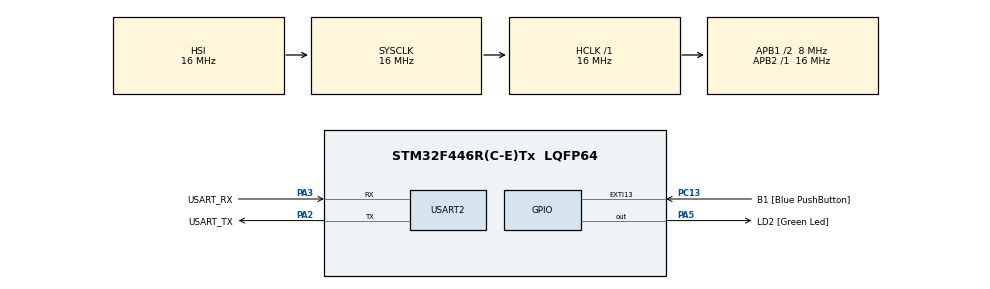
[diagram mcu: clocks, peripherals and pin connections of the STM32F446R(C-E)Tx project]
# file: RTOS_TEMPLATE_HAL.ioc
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Mcu.Family=STM32F4
Mcu.Name=STM32F446R(C-E)Tx
Mcu.Package=LQFP64
NVIC.PriorityGroup=NVIC_PRIORITYGROUP_0
PA13.GPIO_Label=TMS
PA13.Mode=Serial_Wire
PA13.Signal=SYS_JTMS-SWDIO
PA14.GPIO_Label=TCK
PA14.Mode=Serial_Wire
PA14.Signal=SYS_JTCK-SWCLK
PA2.GPIO_Label=USART_TX
PA2.Mode=Asynchronous
PA2.Signal=USART2_TX
PA3.GPIO_Label=USART_RX
PA3.Mode=Asynchronous
PA3.Signal=USART2_RX
PA5.GPIO_Label=LD2 [Green Led]
PA5.Signal=GPIO_Output
PB3.GPIO_Label=SWO
PB3.Signal=SYS_JTDO-SWO
PC13.GPIO_Label=B1 [Blue PushButton]
PC13.GPIO_ModeDefaultEXTI=GPIO_MODE_IT_FALLING
PC13.Signal=GPXTI13
PC14-OSC32_IN.Mode=LSE-External-Oscillator
PC14-OSC32_IN.Signal=RCC_OSC32_IN
PC15-OSC32_OUT.Mode=LSE-External-Oscillator
PC15-OSC32_OUT.Signal=RCC_OSC32_OUT
PH0-OSC_IN.Mode=HSE-External-Oscillator
PH0-OSC_IN.Signal=RCC_OSC_IN
PH1-OSC_OUT.Mode=HSE-External-Oscillator
PH1-OSC_OUT.Signal=RCC_OSC_OUT
ProjectManager.HeapSize=0x200
ProjectManager.StackSize=0x400
ProjectManager.TargetToolchain=STM32CubeIDE
RCC.48MHZClocksFreq_Value=84000000
RCC.AHBFreq_Value=16000000
RCC.APB1CLKDivider=RCC_HCLK_DIV2
RCC.APB1Freq_Value=8000000
RCC.APB1TimFreq_Value=16000000
RCC.APB2Freq_Value=16000000
RCC.APB2TimFreq_Value=16000000
RCC.CortexFreq_Value=16000000
RCC.FLatency-AdvancedSettings=FLASH_LATENCY_0
RCC.HCLKFreq_Value=16000000
RCC.HSE_VALUE=8000000
RCC.HSI_VALUE=16000000
RCC.PLLN=336
RCC.PLLP=RCC_PLLP_DIV4
RCC.SYSCLKFreq_VALUE=16000000
RCC.USBFreq_Value=168000000
RCC.VCOOutputFreq_Value=336000000
USART2.VirtualMode=VM_ASYNC
board=NUCLEO-F446RE

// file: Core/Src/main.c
/* USER CODE BEGIN Header */
/**
  ******************************************************************************
  * @file           : main.c
  * @brief          : Main program body
  ******************************************************************************
  * @attention
  *
  * <h2><center>&copy; Copyright (c) 2021 STMicroelectronics.
  * All rights reserved.</center></h2>
  *
  * This software component is licensed by ST under BSD 3-Clause license,
  * the "License"; You may not use this file except in compliance with the
  * License. You may obtain a copy of the License at:
  *                        opensource.org/licenses/BSD-3-Clause
  *
  ******************************************************************************
  */
/* USER CODE END Header */
#include "main.h"

/* USER CODE BEGIN Includes */
#include<stdarg.h>
#include "queue.h"
#include "semphr.h"

/* USER CODE END Includes */

UART_HandleTypeDef huart2;

void SystemClock_Config(void);
static void MX_GPIO_Init(void);
static void MX_USART2_UART_Init(void);

void SystemClock_Config(void);
static void svManagerTask(void *parameter);
static void svEmployeeTask(void *parameter);
void printmsg(const char *format,...);

void printmsg(const char *format,...)
{
       char str[80];

        /*extract the arg list using va apis */
       va_list args;
       va_start(args, format);
       vsprintf(str, format, args);

       strcat(str, "\n\r");
       HAL_UART_Transmit(&huart2, (uint8_t *)str, strlen(str), HAL_MAX_DELAY);
       va_end(args);
}

/* USER CODE BEGIN 0 */

BaseType_t xStatus;
//Create a global semaphore object which will be used by both the manager and employee task synchronously
xSemaphoreHandle xSemaObj = NULL;

//Create a queue which will be used to transfer data between the two tasks
xQueueHandle xQueueObj = NULL;

/* USER CODE END 0 *///0x200132ac   0x1fff

TaskHandle_t task1_handle = NULL,
		 	 task2_handle = NULL;

int main(void)
{

  /* MCU Configuration--------------------------------------------------------*/

  DWT->CTRL |= (0x1 << 0);
  /* Reset of all peripherals, Initializes the Flash interface and the Systick. */
  HAL_Init();

  /* Configure the system clock */
  SystemClock_Config();

  /* Initialize all configured peripherals */
  MX_GPIO_Init();
  MX_USART2_UART_Init();
  /* USER CODE BEGIN 2 */

	//printf("The application has started\n\r");

  //Start Recording
  SEGGER_SYSVIEW_Conf();
  SEGGER_SYSVIEW_Start();

  vSemaphoreCreateBinary(xSemaObj);

  xQueueObj = xQueueCreate(1, sizeof(unsigned int));

  if((xSemaObj != NULL) && (xQueueObj != NULL)){
	xStatus = xTaskCreate(svEmployeeTask, "Employee", configMINIMAL_STACK_SIZE, NULL, 1, &task1_handle);
	configASSERT(xStatus == pdPASS);

	xStatus = xTaskCreate(svManagerTask, "Manager", configMINIMAL_STACK_SIZE, NULL, 2, &task2_handle);
	configASSERT(xStatus == pdPASS);

	//start FreeRTOS scheduler
	vTaskStartScheduler();
  }

  printmsg("ERR : Couldn't create kernel objects");

	//if the control comes here, the cpu comes here due to unsufficient task in the memory

  /* USER CODE END 2 */

  /* Infinite loop */
  while (1)
  {

  }
}

void SystemClock_Config(void)
{
  RCC_OscInitTypeDef RCC_OscInitStruct = {0};
  RCC_ClkInitTypeDef RCC_ClkInitStruct = {0};

  /** Configure the main internal regulator output voltage
  */
  __HAL_RCC_PWR_CLK_ENABLE();
  __HAL_PWR_VOLTAGESCALING_CONFIG(PWR_REGULATOR_VOLTAGE_SCALE3);
  /** Initializes the RCC Oscillators according to the specified parameters
  * in the RCC_OscInitTypeDef structure.
  */
  RCC_OscInitStruct.OscillatorType = RCC_OSCILLATORTYPE_HSI;
  RCC_OscInitStruct.HSIState = RCC_HSI_ON;
  RCC_OscInitStruct.HSICalibrationValue = RCC_HSICALIBRATION_DEFAULT;
  RCC_OscInitStruct.PLL.PLLState = RCC_PLL_NONE;
  if (HAL_RCC_OscConfig(&RCC_OscInitStruct) != HAL_OK)
  {
    Error_Handler();
  }
  /** Initializes the CPU, AHB and APB buses clocks
  */
  RCC_ClkInitStruct.ClockType = RCC_CLOCKTYPE_HCLK|RCC_CLOCKTYPE_SYSCLK
                              |RCC_CLOCKTYPE_PCLK1|RCC_CLOCKTYPE_PCLK2;
  RCC_ClkInitStruct.SYSCLKSource = RCC_SYSCLKSOURCE_HSI;
  RCC_ClkInitStruct.AHBCLKDivider = RCC_SYSCLK_DIV1;
  RCC_ClkInitStruct.APB1CLKDivider = RCC_HCLK_DIV2;
  RCC_ClkInitStruct.APB2CLKDivider = RCC_HCLK_DIV1;

  if (HAL_RCC_ClockConfig(&RCC_ClkInitStruct, FLASH_LATENCY_0) != HAL_OK)
  {
    Error_Handler();
  }
}

static void MX_USART2_UART_Init(void)
{

  huart2.Instance = USART2;
  huart2.Init.BaudRate = 115200;
  huart2.Init.WordLength = UART_WORDLENGTH_8B;
  huart2.Init.StopBits = UART_STOPBITS_1;
  huart2.Init.Parity = UART_PARITY_NONE;
  huart2.Init.Mode = UART_MODE_TX_RX;
  huart2.Init.HwFlowCtl = UART_HWCONTROL_NONE;
  huart2.Init.OverSampling = UART_OVERSAMPLING_16;
  if (HAL_UART_Init(&huart2) != HAL_OK)
  {
    Error_Handler();
  }

}

static void MX_GPIO_Init(void)
{
  GPIO_InitTypeDef GPIO_InitStruct = {0};

  /* GPIO Ports Clock Enable */
  __HAL_RCC_GPIOC_CLK_ENABLE();
  __HAL_RCC_GPIOH_CLK_ENABLE();
  __HAL_RCC_GPIOA_CLK_ENABLE();
  __HAL_RCC_GPIOB_CLK_ENABLE();

  /*Configure GPIO pin Output Level */
  HAL_GPIO_WritePin(LD2_GPIO_Port, LD2_Pin, GPIO_PIN_RESET);

  /*Configure GPIO pin : B1_Pin */
  GPIO_InitStruct.Pin = B1_Pin;
  GPIO_InitStruct.Mode = GPIO_MODE_IT_FALLING;
  GPIO_InitStruct.Pull = GPIO_NOPULL;
  HAL_GPIO_Init(B1_GPIO_Port, &GPIO_InitStruct);

  /*Configure GPIO pin : LD2_Pin */
  GPIO_InitStruct.Pin = LD2_Pin;
  GPIO_InitStruct.Mode = GPIO_MODE_OUTPUT_PP;
  GPIO_InitStruct.Pull = GPIO_NOPULL;
  GPIO_InitStruct.Speed = GPIO_SPEED_FREQ_LOW;
  HAL_GPIO_Init(LD2_GPIO_Port, &GPIO_InitStruct);

}

/* USER CODE BEGIN 4 */
static void svManagerTask(void *parameter)
{
	unsigned int data;

	while(1){
		data = rand() & 0xFF;

		xStatus = xQueueSend(xQueueObj, &data, portMAX_DELAY);

		if(xStatus == pdPASS){
			xQueueSend(xQueueObj, &data, 0);
			xSemaphoreGive(xSemaObj);

			taskYIELD();
		}else{
			printmsg("Err : Couldn't create Queue");

		}
	}
}
static void svEmployeeTask(void *parameter)
{
	unsigned int pData ;

	while(xSemaphoreTake(xSemaObj, 0)){

		xStatus = xQueueReceive(xQueueObj, &pData, 0);

		if(xStatus == pdPASS){
			printmsg("Random number recieved %d", pData);
			vTaskDelay(pdMS_TO_TICKS(pData));

		}else{
			printmsg("Err : Couldn't create Queue");
		}
	}
}

/* USER CODE END 4 */

void Error_Handler(void)
{
  __disable_irq();
  while (1)
  {
  }
}

/************************ (C) COPYRIGHT STMicroelectronics *****END OF FILE****/
